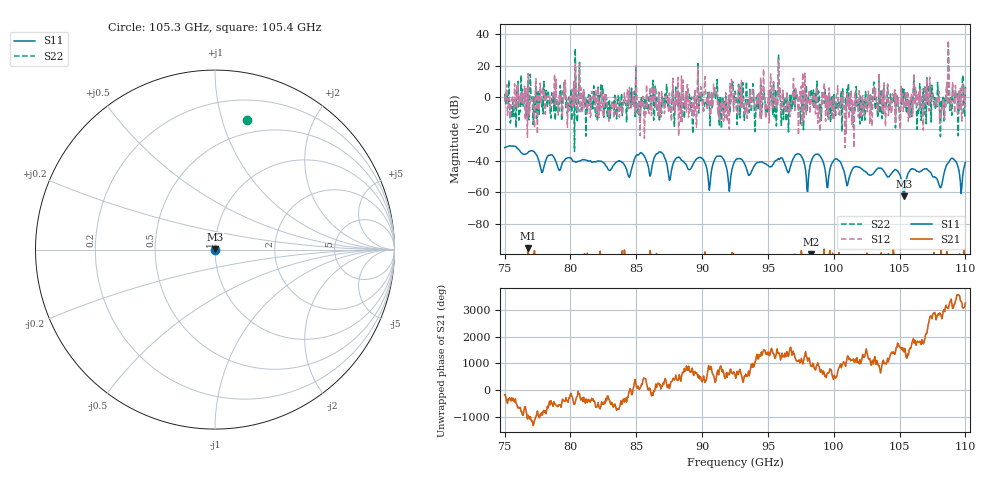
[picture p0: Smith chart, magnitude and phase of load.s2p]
!Created with skrf (http://scikit-rf.org).
# GHz S RI R 50.0
!freq ReS11 ImS11 ReS21 ImS21 ReS12 ImS12 ReS22 ImS22
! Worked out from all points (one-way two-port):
!   647 points, 75 GHz to 110 GHz, reference 50 ohm
!   highest |S21| = -95.10 dB at 76.79 GHz (marker M1); lowest = -134.2 dB at 98.3 GHz (marker M2)
!   lowest |S11| = -62.5 dB at 105.3 GHz (marker M3), VSWR 1.00, Z = 50 + j0.0599 ohm
!   |S11| at or under -10 dB: start of sweep to end of sweep
!   |S22| runs from -34.2 to 33.6 dB; largest |S21 - S12| = 63
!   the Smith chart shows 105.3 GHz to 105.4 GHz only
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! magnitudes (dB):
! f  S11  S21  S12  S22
! 75 GHz  -31.7  -103.1  -2.7  0.5
! 76.79 GHz  -34.8  -95.1  15.1  9.1
! 80.85 GHz  -39.6  -105.8  2.7  -6.4
! 84.43 GHz  -50.1  -106.4  -7.3  -3.9
! 86.7 GHz  -34.7  -104.7  3.4  3.2
! 87.57 GHz  -51.9  -108.7  -7.3  -7.1
! 89.95 GHz  -38.3  -110.7  -1.5  3.2
! 90.55 GHz  -58.7  -104.2  4.0  -5.0
! 91.15 GHz  -37.1  -109.5  -0.7  11.3
! 92.07 GHz  -59.3  -106.6  -20.2  -3.5
! 92.5 GHz  -40.2  -100.2  1.8  3.9
! 97.32 GHz  -35.7  -109.1  -23.9  -8.8
! 98.03 GHz  -59.5  -107.6  -3.5  -4.0
! 98.3 GHz  -40.3  -134.2  -1.5  5.2
! 98.35 GHz  -39.1  -119.2  -3.3  1.1
! 99.49 GHz  -56.9  -108.0  -7.0  -8.6
! 104.2 GHz  -50.1  -101.6  -7.9  -3.6
! 105.3 GHz  -62.5  -102.2  -2.3  5.0
! 106 GHz  -45.1  -102.8  -11.9  -8.9
! 108.2 GHz  -55.0  -106.0  -5.7  -7.7
! 108.6 GHz  -41.8  -100.6  -4.5  -4.4
! 110 GHz  -41.1  -100.5  5.8  6.8
